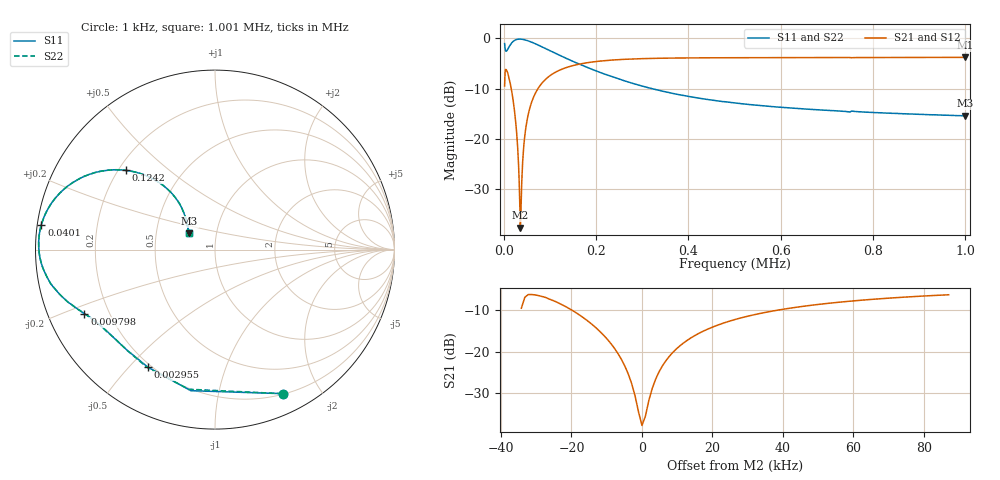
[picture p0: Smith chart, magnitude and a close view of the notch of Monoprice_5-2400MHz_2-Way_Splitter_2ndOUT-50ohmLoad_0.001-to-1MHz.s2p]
! ListType=Lin
! Comment=Monoprice_5-2400MHz_2-Way_Splitter_2ndOUT-50ohmLoad_0.001-to-1MHz
# MHZ S DB R 50
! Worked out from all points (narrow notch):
!   1024 points, 1 kHz to 1.001 MHz, reference 50 ohm
!   highest |S21| = -3.78 dB at 1.001 MHz (marker M1); lowest = -37.7 dB at 35.21 kHz (marker M2)
!   notch at M2: 33.8 dB deep, 14.6 kHz wide at half that depth
!   lowest |S11| = -15.4 dB at 1.001 MHz (marker M3), VSWR 1.41, Z = 37 + j6.97 ohm
!   |S11| at or under -10 dB: 320.4 kHz to end of sweep
!   |S22| runs from -15.4 to -0.1 dB; largest |S21 - S12| = 0.0062
!   S11 on the Smith chart (normalised r, x): 1 kHz: 0.21, -1.56; 2.955 kHz: 0.19, -0.57; 9.798 kHz: 0.11, -0.23; 40.1 kHz: 0.01, +0.07; 124.2 kHz: 0.23, +0.36; 1.001 MHz: 0.74, +0.14
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0.001  -1.04 -64.8  -9.48 47.2  -9.48 47.2  -1.04 -64.8
0.002955  -2.45 -119.7  -6.20 10.8  -6.28 11.4  -2.41 -120.2
0.0068651  -2.31 -146.8  -6.67 -15.5  -6.68 -15.5  -2.31 -146.7
0.0097977  -1.83 -153.8  -7.57 -27.3  -7.58 -27.4  -1.82 -153.9
0.0156628  -0.98 -163.1  -10.12 -44.9  -10.12 -44.9  -0.98 -163.0
0.0234829  -0.37 -172.8  -15.25 -60.6  -15.23 -60.6  -0.37 -172.8
0.027393  -0.22 -177.0  -19.12 -65.1  -19.08 -65.1  -0.22 -176.9
0.0322805  -0.15 178.3  -27.59 -61.1  -27.47 -61.4  -0.15 178.4
0.0352131  -0.15 175.7  -37.69 0.9  -37.66 -2.2  -0.15 175.8
0.0381457  -0.17 173.3  -28.73 72.6  -28.91 72.2  -0.17 173.4
0.0401007  -0.20 171.8  -24.72 78.1  -24.85 78.1  -0.20 171.9
0.0430332  -0.25 169.6  -21.00 79.5  -21.09 79.6  -0.25 169.7
0.0479208  -0.37 166.3  -17.29 77.7  -17.35 77.8  -0.37 166.4
0.0616061  -0.83 158.5  -12.21 69.3  -12.25 69.4  -0.83 158.6
0.086044  -1.86 148.3  -8.50 56.8  -8.53 56.9  -1.84 148.5
0.1241672  -3.53 138.4  -6.18 43.6  -6.19 43.7  -3.51 138.6
0.1681554  -5.32 132.0  -5.04 33.9  -5.05 34.0  -5.29 132.1
0.3353109  -10.33 128.3  -3.97 17.1  -3.97 17.2  -10.31 128.2
0.5014888  -12.87 134.7  -3.85 11.3  -3.86 11.3  -12.85 134.6
0.6676667  -14.15 140.5  -3.83 8.6  -3.83 8.6  -14.13 140.4
0.8348221  -14.89 144.5  -3.81 7.1  -3.81 7.1  -14.87 144.4
1.001  -15.42 147.3  -3.78 6.1  -3.78 6.2  -15.41 147.2
